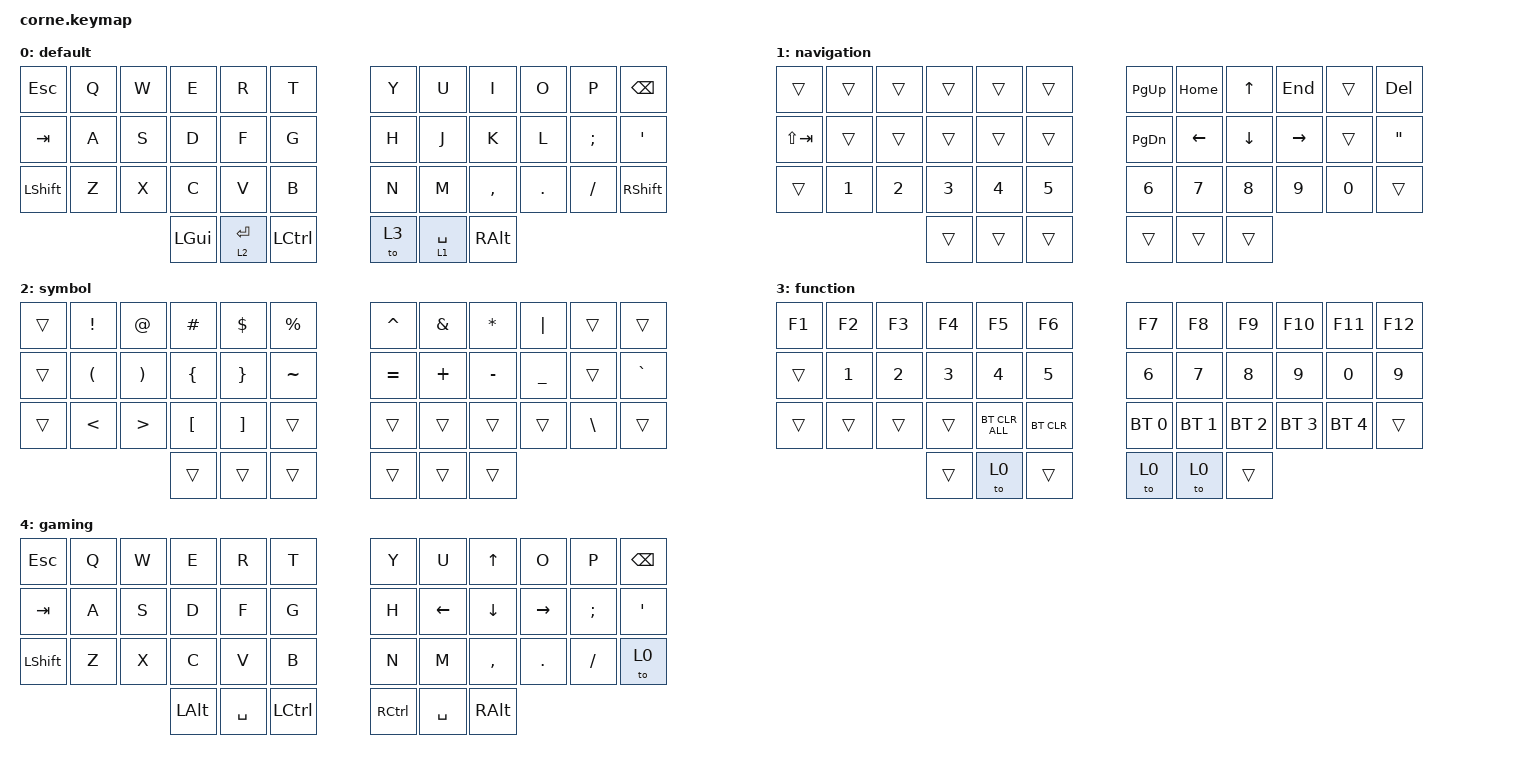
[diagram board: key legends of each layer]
/*
 * Copyright (c) 2020 The ZMK Contributors
 *
 * SPDX-License-Identifier: MIT
 */

#include <behaviors.dtsi>
#include <dt-bindings/zmk/bt.h>
#include <dt-bindings/zmk/keys.h>

/ {
    combos {
        compatible = "zmk,combos";

        gaming {
            bindings = <&to 4>;
            key-positions = <0 11>;
        };
    };

    behaviors {
        mo2kp: mo2kp {
            compatible = "zmk,behavior-hold-tap";
            label = "MO2KP";
            bindings = <&mo>, <&kp>;

            #binding-cells = <2>;
            tapping-term-ms = <300>;
            quick-tap-ms = <150>;
            flavor = "balanced";
            retro-tap;
            hold-while-undecided;
        };

        kp2kp: kp2kp {
            compatible = "zmk,behavior-hold-tap";
            label = "KP2KP";
            bindings = <&kp>, <&kp>;

            #binding-cells = <2>;
            tapping-term-ms = <300>;
            quick-tap-ms = <200>;
            flavor = "tap-preferred";
            retro-tap;
        };
    };

    keymap {
        compatible = "zmk,keymap";

        default_layer {
            // -----------------------------------------------------------------------------------------
            // |  TAB |  Q  |  W  |  E  |  R  |  T  |   |  Y  |  U   |  I  |  O  |  P  | BKSP |
            // | CTRL |  A  |  S  |  D  |  F  |  G  |   |  H  |  J   |  K  |  L  |  ;  |  '   |
            // | SHFT |  Z  |  X  |  C  |  V  |  B  |   |  N  |  M   |  ,  |  .  |  /  | ESC  |
            //                    | GUI | LWR | SPC |   | ENT | RSE  | ALT |

            display-name = "default";
            bindings = <
&kp ESC    &kp Q  &kp W  &kp E         &kp R           &kp T               &kp Y  &kp U           &kp I          &kp O    &kp P     &kp BSPC
&kp TAB    &kp A  &kp S  &kp D         &kp F           &kp G               &kp H  &kp J           &kp K          &kp L    &kp SEMI  &kp SQT
&kp LSHFT  &kp Z  &kp X  &kp C         &kp V           &kp B               &kp N  &kp M           &kp COMMA      &kp DOT  &kp FSLH  &kp RSHIFT
                         &kp LEFT_GUI  &mo2kp 2 ENTER  &kp LEFT_CONTROL    &to 3  &mo2kp 1 SPACE  &kp RIGHT_ALT
            >;
        };

        numbers_navigation {
            // -----------------------------------------------------------------------------------------
            // |  TAB |  1  |  2  |  3  |  4  |  5  |   |  6  |  7  |  8  |  9  |  0  | BKSP |
            // | BTCLR| BT1 | BT2 | BT3 | BT4 | BT5 |   | LFT | DWN |  UP | RGT |     |      |
            // | SHFT |     |     |     |     |     |   |     |     |     |     |     |      |
            //                    | GUI |     | SPC |   | ENT |     | ALT |

            display-name = "navigation";
            bindings = <
&trans       &trans  &trans  &trans  &trans  &trans    &kp PG_UP  &kp HOME        &kp UP          &kp END    &trans  &kp DELETE
&kp LS(TAB)  &trans  &trans  &trans  &trans  &trans    &kp PG_DN  &kp LEFT_ARROW  &kp DOWN_ARROW  &kp RIGHT  &trans  &kp DOUBLE_QUOTES
&trans       &kp N1  &kp N2  &kp N3  &kp N4  &kp N5    &kp N6     &kp N7          &kp N8          &kp N9     &kp N0  &trans
                             &trans  &trans  &trans    &trans     &trans          &trans
            >;
        };

        symbols {
            // -----------------------------------------------------------------------------------------
            // |  TAB |  !  |  @  |  #  |  $  |  %  |   |  ^  |  &  |  *  |  (  |  )  | BKSP |
            // | CTRL |     |     |     |     |     |   |  -  |  =  |  [  |  ]  |  \  |  `   |
            // | SHFT |     |     |     |     |     |   |  _  |  +  |  {  |  }  | "|" |  ~   |
            //                    | GUI |     | SPC |   | ENT |     | ALT |

            display-name = "symbol";
            bindings = <
&trans  &kp EXCL              &kp AT                 &kp HASH        &kp DOLLAR       &kp PERCENT    &kp CARET  &kp AMPERSAND  &kp ASTERISK  &kp PIPE   &trans         &trans
&trans  &kp LEFT_PARENTHESIS  &kp RIGHT_PARENTHESIS  &kp LEFT_BRACE  &kp RIGHT_BRACE  &kp TILDE      &kp EQUAL  &kp PLUS       &kp MINUS     &kp UNDER  &trans         &kp GRAVE
&trans  &kp LESS_THAN         &kp GREATER_THAN       &kp LBKT        &kp RBKT         &trans         &trans     &trans         &trans        &trans     &kp BACKSLASH  &trans
                                                     &trans          &trans           &trans         &trans     &trans         &trans
            >;
        };

        functions {
            bindings = <
&kp F1  &kp F2  &kp F3  &kp F4  &kp F5          &kp F6        &kp F7        &kp F8        &kp F9        &kp F10       &kp F11       &kp F12
&trans  &kp N1  &kp N2  &kp N3  &kp N4          &kp N5        &kp N6        &kp N7        &kp N8        &kp N9        &kp N0        &kp N9
&trans  &trans  &trans  &trans  &bt BT_CLR_ALL  &bt BT_CLR    &bt BT_SEL 0  &bt BT_SEL 1  &bt BT_SEL 2  &bt BT_SEL 3  &bt BT_SEL 4  &trans
                        &trans  &to 0           &trans        &to 0         &to 0         &trans
            >;

            label = "function";
        };

        gaming {
            bindings = <
&kp ESC    &kp Q  &kp W  &kp E     &kp R      &kp T        &kp Y      &kp U      &kp UP     &kp O      &kp P     &kp BSPC
&kp TAB    &kp A  &kp S  &kp D     &kp F      &kp G        &kp H      &kp LEFT   &kp DOWN   &kp RIGHT  &kp SEMI  &kp SQT
&kp LSHFT  &kp Z  &kp X  &kp C     &kp V      &kp B        &kp N      &kp M      &kp COMMA  &kp DOT    &kp FSLH  &to 0
                         &kp LALT  &kp SPACE  &kp LCTRL    &kp RCTRL  &kp SPACE  &kp RALT
            >;

            label = "gaming";
        };
    };
};
